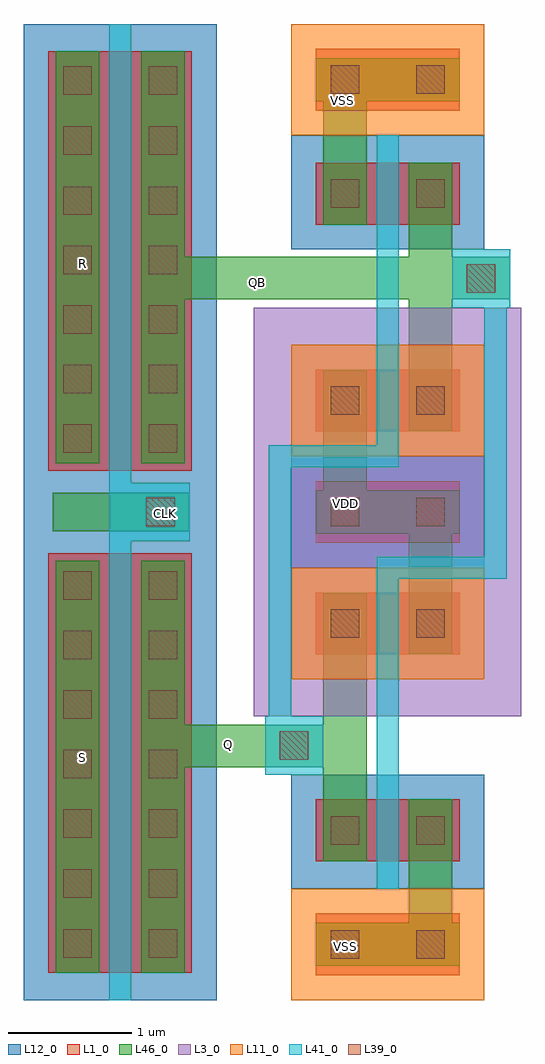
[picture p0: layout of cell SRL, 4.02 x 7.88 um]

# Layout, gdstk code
import gdstk
lib = gdstk.Library(unit=1e-6, precision=1e-09)
def R(c, l, rs):  # rectangles x0, y0, x1, y1
    for r in rs: c.add(gdstk.rectangle(r[:2], r[2:], *l))
def A(c, l, x, y, w, h, nx, ny, dx, dy):  # array of equal rectangles
    R(c, l, [(x+i*dx, y+j*dy, x+i*dx+w, y+j*dy+h) for i in range(nx) for j in range(ny)])
L1_0 = (1, 0)
L3_0 = (3, 0)
L11_0 = (11, 0)
L12_0 = (12, 0)
L39_0 = (39, 0)
L41_0 = (41, 0)
L46_0 = (46, 0)

srl = lib.new_cell('SRL')
A(srl, L1_0, 4.335, 2.09, 1.16, 0.5, 1, 3, 0, 0.9)
R(srl, L1_0, [(4.335,-0.5,5.495,0), (2.175,-0.48,3.335,2.905), (4.335,0.42,5.495,0.92), (2.175,3.575,3.335,6.96), (4.335,5.56,5.495,6.06), (4.335,6.48,5.495,6.98)])
R(srl, L3_0, [(3.835,1.59,5.995,4.89)])
R(srl, L11_0, [(4.135,-0.7,5.695,0.2), (4.135,1.89,5.695,2.79), (4.135,3.69,5.695,4.59), (4.135,6.28,5.695,7.18)])
R(srl, L12_0, [(1.975,-0.7,3.535,7.18), (4.135,0.2,5.695,1.12), (4.135,2.79,5.695,3.69), (4.135,5.36,5.695,6.28)])
A(srl, L39_0, 2.295, 0.611, 0.23, 0.23, 1, 5, 0, 0.48)
A(srl, L39_0, 2.985, 0.611, 0.23, 0.23, 1, 5, 0, 0.48)
A(srl, L39_0, 4.455, 2.225, 0.23, 0.23, 1, 3, 0, 0.9)
A(srl, L39_0, 5.145, 2.225, 0.23, 0.23, 1, 3, 0, 0.9)
A(srl, L39_0, 2.295, 3.718, 0.23, 0.23, 1, 5, 0, 0.48)
A(srl, L39_0, 2.985, 3.718, 0.23, 0.23, 1, 5, 0, 0.48)
R(srl, L39_0, [(4.455,-0.365,4.685,-0.135), (5.145,-0.365,5.375,-0.135), (2.295,-0.36,2.525,-0.13), (2.985,-0.36,3.215,-0.13), (2.295,0.125,2.525,0.355), (2.985,0.125,3.215,0.355), (4.455,0.555,4.685,0.785), (5.145,0.555,5.375,0.785), (4.045,1.24,4.275,1.47), (2.965,3.125,3.195,3.355), (5.555,5.01,5.785,5.24), (4.455,5.695,4.685,5.925), (5.145,5.695,5.375,5.925), (2.295,6.124,2.525,6.354), (2.985,6.124,3.215,6.354), (2.295,6.61,2.525,6.84), (2.985,6.61,3.215,6.84), (4.455,6.615,4.685,6.845), (5.145,6.615,5.375,6.845)])
R(srl, L41_0, [(2.665,-0.7,2.845,7.18), (4.825,0.2,5.005,2.88), (3.925,1.12,4.395,1.59), (3.955,1.59,4.135,3.78), (4.825,2.7,5.875,2.88), (5.695,2.7,5.875,4.89), (2.845,3.005,3.315,3.475), (3.955,3.6,5.005,3.78), (4.825,3.6,5.005,6.28), (5.435,4.89,5.905,5.36)])
A(srl, L46_0, 4.335, -0.425, 1.16, 0.35, 1, 3, 0, 3.49)
R(srl, L46_0, [(2.235,-0.48,2.585,2.845), (2.925,-0.48,3.275,2.845), (5.085,-0.425,5.435,0.92), (4.395,0.42,4.745,2.59), (2.925,1.18,4.745,1.524), (5.085,2.09,5.435,3.415), (4.395,3.065,4.745,4.39), (2.21,3.085,3.315,3.395), (2.235,3.635,2.585,6.96), (2.925,3.635,3.275,6.96), (5.085,3.89,5.435,6.06), (2.925,4.956,5.905,5.3), (4.395,5.56,4.745,6.905)])
srl.add(gdstk.Label('QB', (3.86,5.09), layer=101, texttype=0))
srl.add(gdstk.Label('Q', (3.63,1.365), layer=101, texttype=0))
srl.add(gdstk.Label('S', (2.45,1.26), layer=101, texttype=0))
srl.add(gdstk.Label('R', (2.45,5.245), layer=101, texttype=0))
srl.add(gdstk.Label('VDD', (4.575,3.305), layer=101, texttype=0))
srl.add(gdstk.Label('VSS', (4.575,-0.265), layer=101, texttype=0))
srl.add(gdstk.Label('VSS', (4.55,6.565), layer=101, texttype=0))
srl.add(gdstk.Label('CLK', (3.125,3.225), layer=101, texttype=0))

lib.write_gds('SRL.gds')
